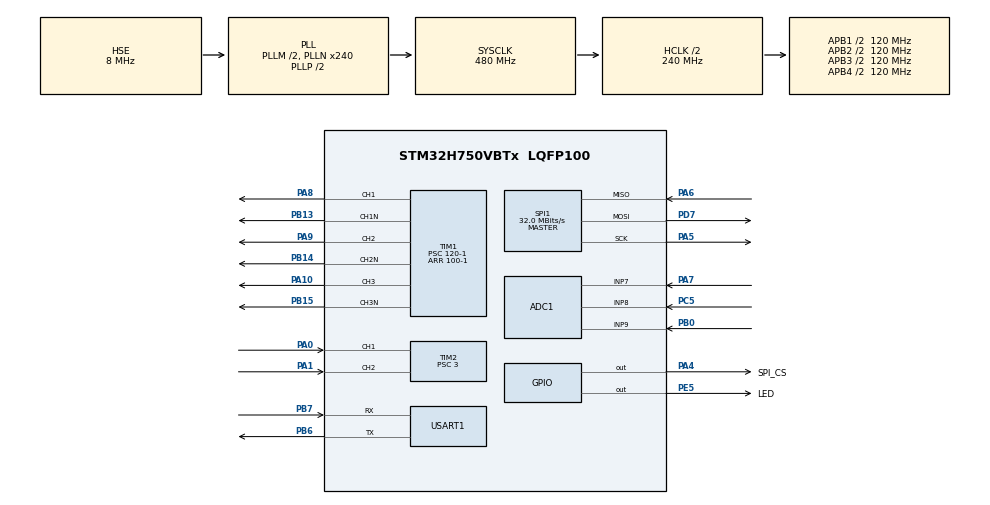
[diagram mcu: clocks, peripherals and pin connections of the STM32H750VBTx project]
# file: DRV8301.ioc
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ADC1.Channel-0\#ChannelRegularConversion=ADC_CHANNEL_7
ADC1.Channel-3\#ChannelRegularConversion=ADC_CHANNEL_8
ADC1.Channel-4\#ChannelRegularConversion=ADC_CHANNEL_9
ADC1.ClockPrescaler=ADC_CLOCK_ASYNC_DIV2
ADC1.ContinuousConvMode=DISABLE
ADC1.DiscontinuousConvMode=ENABLE
ADC1.NbrOfConversion=3
ADC1.NbrOfConversionFlag=1
ADC1.OffsetNumber-0\#ChannelRegularConversion=ADC_OFFSET_NONE
ADC1.OffsetNumber-3\#ChannelRegularConversion=ADC_OFFSET_NONE
ADC1.OffsetNumber-4\#ChannelRegularConversion=ADC_OFFSET_NONE
ADC1.OffsetSignedSaturation-0\#ChannelRegularConversion=DISABLE
ADC1.OffsetSignedSaturation-3\#ChannelRegularConversion=DISABLE
ADC1.OffsetSignedSaturation-4\#ChannelRegularConversion=DISABLE
ADC1.Overrun=ADC_OVR_DATA_OVERWRITTEN
ADC1.Rank-0\#ChannelRegularConversion=1
ADC1.Rank-3\#ChannelRegularConversion=2
ADC1.Rank-4\#ChannelRegularConversion=3
ADC1.SamplingTime-0\#ChannelRegularConversion=ADC_SAMPLETIME_1CYCLE_5
ADC1.SamplingTime-3\#ChannelRegularConversion=ADC_SAMPLETIME_1CYCLE_5
ADC1.SamplingTime-4\#ChannelRegularConversion=ADC_SAMPLETIME_1CYCLE_5
ADC1.master=1
CORTEX_M7.default_mode_Activation=0
Mcu.Family=STM32H7
Mcu.Name=STM32H750VBTx
Mcu.Package=LQFP100
NVIC.PriorityGroup=NVIC_PRIORITYGROUP_4
NVIC.TIM1_BRK_IRQn=true\:0\:0\:false\:false\:true\:true\:true\:true
NVIC.TIM2_IRQn=true\:0\:0\:false\:false\:true\:true\:true\:true
NVIC.USART1_IRQn=true\:0\:0\:false\:false\:true\:true\:true\:true
PA0.Signal=S_TIM2_CH1_ETR
PA1.Signal=S_TIM2_CH2
PA10.Signal=S_TIM1_CH3
PA4.GPIO_Label=SPI_CS
PA4.Signal=GPIO_Output
PA5.Mode=Full_Duplex_Master
PA5.Signal=SPI1_SCK
PA6.Mode=Full_Duplex_Master
PA6.Signal=SPI1_MISO
PA7.Signal=ADCx_INP7
PA8.Signal=S_TIM1_CH1
PA9.Signal=S_TIM1_CH2
PB0.Signal=ADCx_INP9
PB13.Mode=PWM Generation1 CH1 CH1N
PB13.Signal=TIM1_CH1N
PB14.Mode=PWM Generation2 CH2 CH2N
PB14.Signal=TIM1_CH2N
PB15.Mode=PWM Generation3 CH3 CH3N
PB15.Signal=TIM1_CH3N
PB6.Mode=Asynchronous
PB6.Signal=USART1_TX
PB7.Mode=Asynchronous
PB7.Signal=USART1_RX
PC5.Signal=ADCx_INP8
PD7.Mode=Full_Duplex_Master
PD7.Signal=SPI1_MOSI
PE5.GPIO_Label=LED
PE5.Signal=GPIO_Output
PH0-OSC_IN\ (PH0).Mode=HSE-External-Oscillator
PH0-OSC_IN\ (PH0).Signal=RCC_OSC_IN
PH1-OSC_OUT\ (PH1).Mode=HSE-External-Oscillator
PH1-OSC_OUT\ (PH1).Signal=RCC_OSC_OUT
ProjectManager.HeapSize=0x400
ProjectManager.StackSize=0x400
ProjectManager.TargetToolchain=STM32CubeIDE
RCC.ADCCLockSelection=RCC_ADCCLKSOURCE_CLKP
RCC.ADCFreq_Value=64000000
RCC.APB1Freq_Value=120000000
RCC.APB2Freq_Value=120000000
RCC.APB3Freq_Value=120000000
RCC.APB4Freq_Value=120000000
RCC.CortexFreq_Value=480000000
RCC.D1PPRE=RCC_APB3_DIV2
RCC.D2PPRE1=RCC_APB1_DIV2
RCC.D2PPRE2=RCC_APB2_DIV2
RCC.D3PPRE=RCC_APB4_DIV2
RCC.DIVM1=2
RCC.DIVN1=240
RCC.HCLKFreq_Value=240000000
RCC.HPRE=RCC_HCLK_DIV2
RCC.HSE_VALUE=8000000
RCC.PLLSourceVirtual=RCC_PLLSOURCE_HSE
RCC.PWR_Regulator_Voltage_Scale=PWR_REGULATOR_VOLTAGE_SCALE0
RCC.ProductRev=revV
RCC.SPI123CLockSelection=RCC_SPI123CLKSOURCE_CLKP
RCC.SYSCLKFreq_VALUE=480000000
RCC.SYSCLKSource=RCC_SYSCLKSOURCE_PLLCLK
RCC.USBFreq_Value=480000000
SH.ADCx_INP7.0=ADC1_INP7,IN7-Single-Ended
SH.ADCx_INP8.0=ADC1_INP8,IN8-Single-Ended
SH.ADCx_INP9.0=ADC1_INP9,IN9-Single-Ended
SH.S_TIM1_CH1.0=TIM1_CH1,PWM Generation1 CH1 CH1N
SH.S_TIM1_CH2.0=TIM1_CH2,PWM Generation2 CH2 CH2N
SH.S_TIM1_CH3.0=TIM1_CH3,PWM Generation3 CH3 CH3N
SH.S_TIM2_CH1_ETR.0=TIM2_CH1,Encoder_Interface
SH.S_TIM2_CH2.0=TIM2_CH2,Encoder_Interface
SPI1.BaudRatePrescaler=SPI_BAUDRATEPRESCALER_2
SPI1.CalculateBaudRate=32.0 MBits/s
SPI1.DataSize=SPI_DATASIZE_8BIT
SPI1.Direction=SPI_DIRECTION_2LINES
SPI1.Mode=SPI_MODE_MASTER
SPI1.VirtualType=VM_MASTER
TIM1.Channel-PWM\ Generation1\ CH1\ CH1N=TIM_CHANNEL_1
TIM1.Channel-PWM\ Generation2\ CH2\ CH2N=TIM_CHANNEL_2
TIM1.Channel-PWM\ Generation3\ CH3\ CH3N=TIM_CHANNEL_3
TIM1.Period=100-1
TIM1.Prescaler=120-1
TIM1.Pulse-PWM\ Generation1\ CH1\ CH1N=50
TIM1.Pulse-PWM\ Generation2\ CH2\ CH2N=50
TIM1.Pulse-PWM\ Generation3\ CH3\ CH3N=50
TIM2.EncoderMode=TIM_ENCODERMODE_TI12
TIM2.IC1Filter=5
TIM2.IC2Filter=5
TIM2.Prescaler=3
USART1.VirtualMode-Asynchronous=VM_ASYNC
VP_TIM1_VS_ClockSourceINT.Mode=Internal
board=custom

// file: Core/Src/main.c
/* USER CODE BEGIN Header */
/**
  ******************************************************************************
  * @file           : main.c
  * @brief          : Main program body
  ******************************************************************************
  * @attention
  *
  * Copyright (c) 2024 STMicroelectronics.
  * All rights reserved.
  *
  * This software is licensed under terms that can be found in the LICENSE file
  * in the root directory of this software component.
  * If no LICENSE file comes with this software, it is provided AS-IS.
  *
  ******************************************************************************
  */
/* USER CODE END Header */
#include "main.h"
#include "adc.h"
#include "spi.h"
#include "tim.h"
#include "usart.h"
#include "gpio.h"

void SystemClock_Config(void);
void PeriphCommonClock_Config(void);

/* USER CODE BEGIN 0 */
uint8_t len;
/* USER CODE END 0 */

int main(void)
{

  /* MCU Configuration--------------------------------------------------------*/

  /* Reset of all peripherals, Initializes the Flash interface and the Systick. */
  HAL_Init();

  /* Configure the system clock */
  SystemClock_Config();

/* Configure the peripherals common clocks */
  PeriphCommonClock_Config();

  /* Initialize all configured peripherals */
  MX_GPIO_Init();
  MX_ADC1_Init();
  MX_SPI1_Init();
  MX_TIM1_Init();
  MX_TIM2_Init();
  MX_USART1_UART_Init();
  /* USER CODE BEGIN 2 */
    RetargetInit(&huart1);
    HAL_TIM_PWM_Start(&htim1, TIM_CHANNEL_1);
    HAL_TIM_PWM_Start(&htim1, TIM_CHANNEL_2);
    HAL_TIM_PWM_Start(&htim1, TIM_CHANNEL_3);
    HAL_TIMEx_PWMN_Start(&htim1,TIM_CHANNEL_1);
    HAL_TIMEx_PWMN_Start(&htim1,TIM_CHANNEL_2);
    HAL_TIMEx_PWMN_Start(&htim1,TIM_CHANNEL_3);
//    uint32_t period = __HAL_TIM_GET_AUTORELOAD(&htim1);
//    uint32_t pulse = period / 2; // 50% 占空�?
//    __HAL_TIM_SET_COMPARE(&htim1, TIM_CHANNEL_1, pulse);
  /* USER CODE END 2 */

  /* Infinite loop */
  while (1)
  {

    /* USER CODE BEGIN 3 */
      if (g_usart_rx_sta & 0x8000)        /* 接收到了数据? */
      {
          len = g_usart_rx_sta & 0x3fff;  /* 得到此次接收到的数据长度 */
          printf("\r\n输出是:\r\n");

          HAL_UART_Transmit(&huart1,(uint8_t*)g_usart_rx_buf, len, 1000);    /* 发�?�接收到的数�? */
          while(__HAL_UART_GET_FLAG(&huart1,UART_FLAG_TC) != SET);           /* 等待发�?�结�? */
          printf("\r\n\r\n");             /* 插入换行 */
          g_usart_rx_sta = 0;
      }
      //printf("hello\r\n");
  }
  /* USER CODE END 3 */
}

void SystemClock_Config(void)
{
  RCC_OscInitTypeDef RCC_OscInitStruct = {0};
  RCC_ClkInitTypeDef RCC_ClkInitStruct = {0};

  /** Supply configuration update enable
  */
  HAL_PWREx_ConfigSupply(PWR_LDO_SUPPLY);

  /** Configure the main internal regulator output voltage
  */
  __HAL_PWR_VOLTAGESCALING_CONFIG(PWR_REGULATOR_VOLTAGE_SCALE1);

  while(!__HAL_PWR_GET_FLAG(PWR_FLAG_VOSRDY)) {}

  __HAL_RCC_SYSCFG_CLK_ENABLE();
  __HAL_PWR_VOLTAGESCALING_CONFIG(PWR_REGULATOR_VOLTAGE_SCALE0);

  while(!__HAL_PWR_GET_FLAG(PWR_FLAG_VOSRDY)) {}

  /** Initializes the RCC Oscillators according to the specified parameters
  * in the RCC_OscInitTypeDef structure.
  */
  RCC_OscInitStruct.OscillatorType = RCC_OSCILLATORTYPE_HSI|RCC_OSCILLATORTYPE_HSE;
  RCC_OscInitStruct.HSEState = RCC_HSE_ON;
  RCC_OscInitStruct.HSIState = RCC_HSI_DIV1;
  RCC_OscInitStruct.HSICalibrationValue = RCC_HSICALIBRATION_DEFAULT;
  RCC_OscInitStruct.PLL.PLLState = RCC_PLL_ON;
  RCC_OscInitStruct.PLL.PLLSource = RCC_PLLSOURCE_HSE;
  RCC_OscInitStruct.PLL.PLLM = 2;
  RCC_OscInitStruct.PLL.PLLN = 240;
  RCC_OscInitStruct.PLL.PLLP = 2;
  RCC_OscInitStruct.PLL.PLLQ = 2;
  RCC_OscInitStruct.PLL.PLLR = 2;
  RCC_OscInitStruct.PLL.PLLRGE = RCC_PLL1VCIRANGE_2;
  RCC_OscInitStruct.PLL.PLLVCOSEL = RCC_PLL1VCOWIDE;
  RCC_OscInitStruct.PLL.PLLFRACN = 0;
  if (HAL_RCC_OscConfig(&RCC_OscInitStruct) != HAL_OK)
  {
    Error_Handler();
  }

  /** Initializes the CPU, AHB and APB buses clocks
  */
  RCC_ClkInitStruct.ClockType = RCC_CLOCKTYPE_HCLK|RCC_CLOCKTYPE_SYSCLK
                              |RCC_CLOCKTYPE_PCLK1|RCC_CLOCKTYPE_PCLK2
                              |RCC_CLOCKTYPE_D3PCLK1|RCC_CLOCKTYPE_D1PCLK1;
  RCC_ClkInitStruct.SYSCLKSource = RCC_SYSCLKSOURCE_PLLCLK;
  RCC_ClkInitStruct.SYSCLKDivider = RCC_SYSCLK_DIV1;
  RCC_ClkInitStruct.AHBCLKDivider = RCC_HCLK_DIV2;
  RCC_ClkInitStruct.APB3CLKDivider = RCC_APB3_DIV2;
  RCC_ClkInitStruct.APB1CLKDivider = RCC_APB1_DIV2;
  RCC_ClkInitStruct.APB2CLKDivider = RCC_APB2_DIV2;
  RCC_ClkInitStruct.APB4CLKDivider = RCC_APB4_DIV2;

  if (HAL_RCC_ClockConfig(&RCC_ClkInitStruct, FLASH_LATENCY_4) != HAL_OK)
  {
    Error_Handler();
  }
}

void PeriphCommonClock_Config(void)
{
  RCC_PeriphCLKInitTypeDef PeriphClkInitStruct = {0};

  /** Initializes the peripherals clock
  */
  PeriphClkInitStruct.PeriphClockSelection = RCC_PERIPHCLK_CKPER;
  PeriphClkInitStruct.CkperClockSelection = RCC_CLKPSOURCE_HSI;
  if (HAL_RCCEx_PeriphCLKConfig(&PeriphClkInitStruct) != HAL_OK)
  {
    Error_Handler();
  }
}

void Error_Handler(void)
{
  __disable_irq();
  while (1)
  {
  }
}
